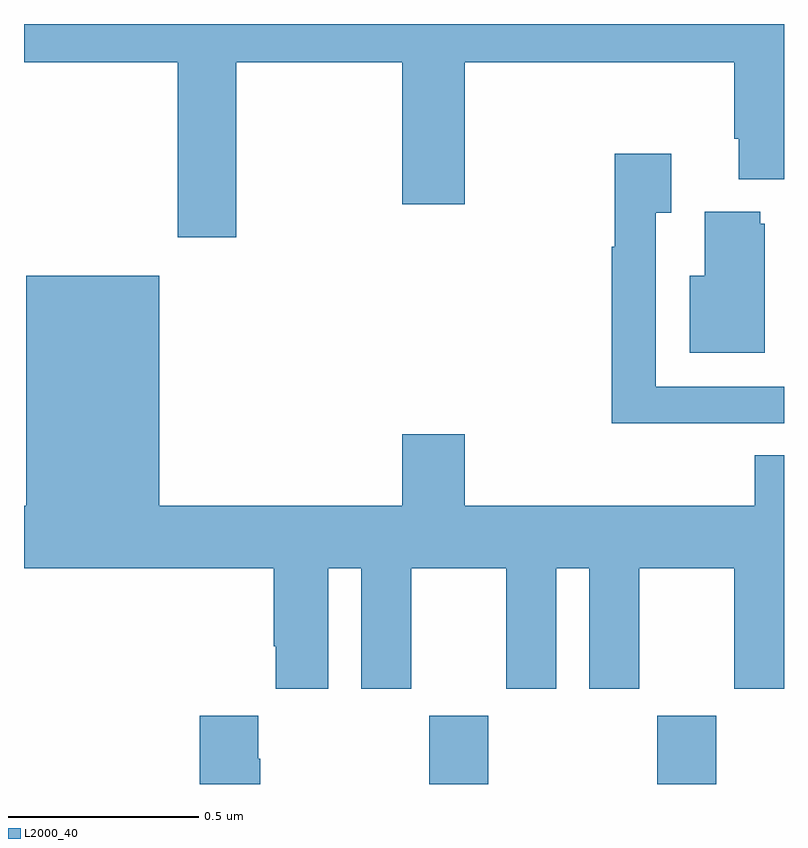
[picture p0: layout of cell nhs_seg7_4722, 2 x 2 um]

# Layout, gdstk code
import gdstk
lib = gdstk.Library(unit=1e-6, precision=1e-09)
def R(c, l, rs):  # rectangles x0, y0, x1, y1
    for r in rs: c.add(gdstk.rectangle(r[:2], r[2:], *l))
def P(c, l, *ps):  # polygons
    for p in ps: c.add(gdstk.Polygon(p, *l))
L2000_40 = (2000, 40)

nhs_seg7_4722 = lib.new_cell('nhs_seg7_4722')
R(nhs_seg7_4722, L2000_40, [(177.067,1048,177.222,1048.18), (177.667,1048,177.822,1048.18)])
P(nhs_seg7_4722, L2000_40, [(176.559,1049.9),(176.996,1049.9),(176.996,1049.526),(177.16,1049.526),(177.16,1049.9),(177.869,1049.9),(177.869,1049.698),(177.881,1049.698),(177.881,1049.591),(178,1049.591),(178,1050),(176,1050),(176,1049.9),(176.404,1049.9),(176.404,1049.439),(176.559,1049.439)],
  [(177.839,1048.95),(178,1048.95),(178,1049.046),(177.663,1049.046),(177.663,1049.503),(177.703,1049.503),(177.703,1049.659),(177.555,1049.659),(177.555,1049.414),(177.547,1049.414),(177.547,1048.949),(177.839,1048.949)],
  [(177.949,1049.475),(177.938,1049.475),(177.938,1049.506),(177.791,1049.506),(177.791,1049.338),(177.752,1049.338),(177.752,1049.135),(177.949,1049.135)],
  [(176.8,1048.568),(176.888,1048.568),(176.888,1048.251),(177.019,1048.251),(177.019,1048.568),(177.269,1048.568),(177.269,1048.251),(177.4,1048.251),(177.4,1048.568),(177.488,1048.568),(177.488,1048.251),(177.619,1048.251),(177.619,1048.568),(177.869,1048.568),(177.869,1048.251),(178,1048.251),(178,1048.865),(177.923,1048.865),(177.923,1048.732),(177.16,1048.732),(177.16,1048.921),(176.996,1048.921),(176.996,1048.732),(176.356,1048.732),(176.356,1049.338),(176.006,1049.338),(176.006,1048.732),(176,1048.732),(176,1048.568),(176.657,1048.568),(176.657,1048.363),(176.663,1048.363),(176.663,1048.251),(176.8,1048.251)],
  [(176.622,1048.067),(176.617,1048.067),(176.617,1048.18),(176.462,1048.18),(176.462,1048),(176.622,1048)])

lib.write_gds('nhs_seg7_4722.gds')
